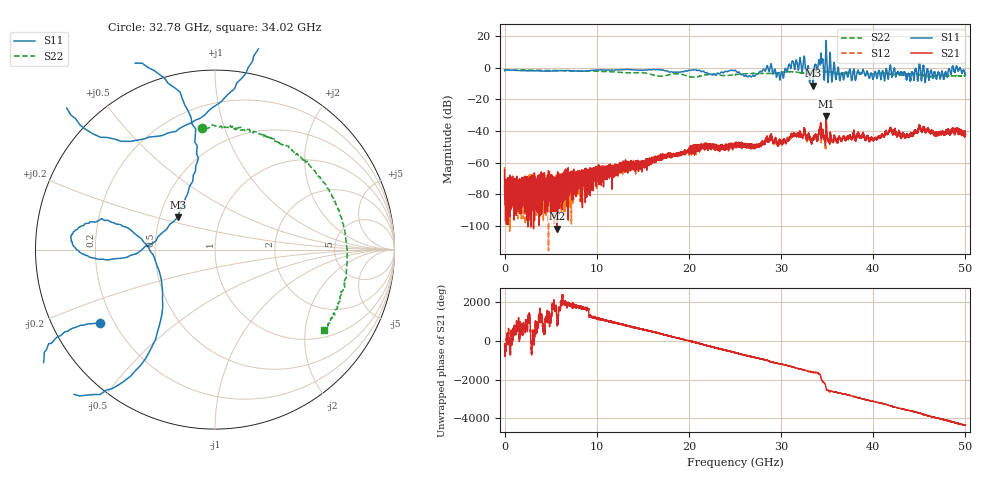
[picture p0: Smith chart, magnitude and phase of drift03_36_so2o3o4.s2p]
!Created with skrf (http://scikit-rf.org).
# Hz S RI R 50.0
!freq ReS11 ImS11 ReS21 ImS21 ReS12 ImS12 ReS22 ImS22
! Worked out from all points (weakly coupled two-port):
!   10001 points, 300 kHz to 50 GHz, reference 50 ohm
!   highest |S21| = -30.65 dB at 34.9 GHz (marker M1); lowest = -101.7 dB at 5.67 GHz (marker M2)
!   lowest |S11| = -11.2 dB at 33.47 GHz (marker M3), VSWR 1.76, Z = 31 + j12.1 ohm
!   |S11| at or under -10 dB: 33.4476 GHz to 33.48581 GHz (38.21 MHz wide, 0.114 % of centre)
!   |S22| runs from -5.9 to -1.3 dB; largest |S21 - S12| = 0.0059
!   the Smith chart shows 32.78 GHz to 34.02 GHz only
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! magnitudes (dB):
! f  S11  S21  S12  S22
! 300 kHz  -1.3  -64.5  -62.7  -2.0
! 255.3 MHz  -1.3  -73.4  -76.4  -1.4
! 5.67 GHz  -1.9  -101.7  -80.1  -1.7
! 8.335 GHz  -2.2  -69.6  -68.2  -1.9
! 16.67 GHz  -1.1  -57.0  -56.2  -5.2
! 25 GHz  -1.5  -48.7  -48.6  -4.3
! 26.92 GHz  -4.9  -50.2  -48.5  -3.5
! 28.73 GHz  -2.2  -46.7  -45.6  -3.5
! 30.06 GHz  -2.5  -46.0  -47.5  -2.8
! 31.87 GHz  -1.4  -42.7  -42.1  -2.9
! 33.34 GHz  -2.2  -47.0  -47.3  -2.9
! 33.47 GHz  -11.2  -45.5  -45.4  -2.8
! 34.3 GHz  7.5  -34.8  -35.6  -2.3
! 34.9 GHz  15.8  -30.6  -32.6  -2.4
! 36.58 GHz  -3.4  -46.0  -45.7  -3.5
! 40.16 GHz  -2.8  -44.6  -44.1  -3.7
! 41.67 GHz  -5.6  -40.7  -40.5  -3.7
! 43.84 GHz  -3.5  -43.6  -43.5  -3.8
! 45.21 GHz  -7.2  -39.2  -39.7  -4.6
! 47.07 GHz  -2.8  -41.8  -41.4  -5.0
! 49.21 GHz  -1.9  -38.9  -39.5  -5.2
! 50 GHz  -4.6  -40.5  -41.6  -5.0
